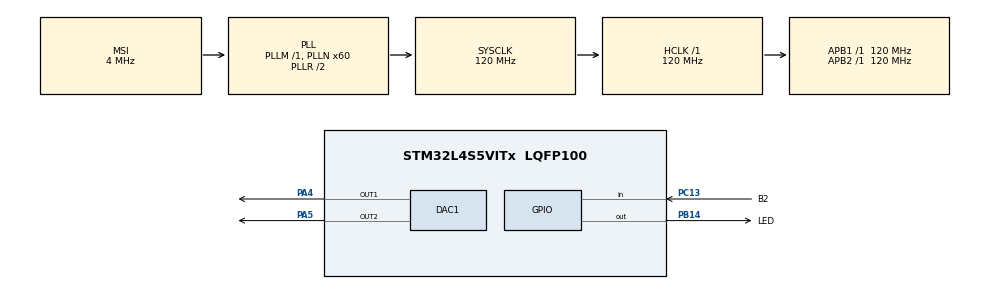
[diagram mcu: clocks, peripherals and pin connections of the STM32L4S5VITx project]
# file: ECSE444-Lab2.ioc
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ADC1.Channel-0\#ChannelRegularConversion=ADC_CHANNEL_VREFINT
ADC1.DiscontinuousConvMode=DISABLE
ADC1.EnableInjectedConversion=ENABLE
ADC1.InjMonitoredBy-2\#ChannelInjectedConversion=__NULL
ADC1.InjNumberOfConversion=1
ADC1.InjectedChannel-2\#ChannelInjectedConversion=ADC_CHANNEL_TEMPSENSOR
ADC1.InjectedOffsetNumber-2\#ChannelInjectedConversion=ADC_OFFSET_NONE
ADC1.InjectedRank-2\#ChannelInjectedConversion=1
ADC1.InjectedSamplingTime-2\#ChannelInjectedConversion=ADC_SAMPLETIME_247CYCLES_5
ADC1.NbrOfConversion=1
ADC1.NbrOfConversionFlag=1
ADC1.OffsetNumber-0\#ChannelRegularConversion=ADC_OFFSET_NONE
ADC1.Rank-0\#ChannelRegularConversion=1
ADC1.Rank1_Channel=ADC_CHANNEL_TEMPSENSOR
ADC1.SamplingTime-0\#ChannelRegularConversion=ADC_SAMPLETIME_247CYCLES_5
ADC1.master=1
DAC1.DAC_Channel-DAC_OUT2=DAC_CHANNEL_2
Mcu.Family=STM32L4
Mcu.Name=STM32L4S5VITx
Mcu.Package=LQFP100
NVIC.PriorityGroup=NVIC_PRIORITYGROUP_4
PA4.Signal=COMP_DAC11_group
PA5.Signal=COMP_DAC12_group
PB14.GPIO_Label=LED
PB14.Signal=GPIO_Output
PB3\ (JTDO/TRACESWO).Signal=SYS_JTDO-SWO
PC13.GPIO_Label=B2
PC13.Signal=GPIO_Input
ProjectManager.HeapSize=0x200
ProjectManager.StackSize=0x400
ProjectManager.TargetToolchain=STM32CubeIDE
RCC.ADCFreq_Value=48000000
RCC.AHBFreq_Value=120000000
RCC.APB1Freq_Value=120000000
RCC.APB1TimFreq_Value=120000000
RCC.APB2Freq_Value=120000000
RCC.APB2TimFreq_Value=120000000
RCC.CortexFreq_Value=120000000
RCC.HCLKFreq_Value=120000000
RCC.HSE_VALUE=8000000
RCC.HSI48_VALUE=48000000
RCC.HSI_VALUE=16000000
RCC.LSE_VALUE=32768
RCC.MSI_VALUE=4000000
RCC.PLLN=60
RCC.PLLSAI1N=24
RCC.SYSCLKFreq_VALUE=120000000
RCC.SYSCLKSource=RCC_SYSCLKSOURCE_PLLCLK
RCC.USBFreq_Value=48000000
RCC.VCOOutputFreq_Value=240000000
SH.COMP_DAC11_group.0=DAC1_OUT1,DAC_OUT1
SH.COMP_DAC12_group.0=DAC1_OUT2,DAC_OUT2
VP_ADC1_TempSens_Input.Mode=IN-TempSens
VP_ADC1_Vref_Input.Mode=IN-Vrefint
board=B-L4S5I-IOT01A

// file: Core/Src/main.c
/* USER CODE BEGIN Header */
/**
  ******************************************************************************
  * @file           : main.c
  * @brief          : Main program body
  ******************************************************************************
  * @attention
  *
  * Copyright (c) 2026 STMicroelectronics.
  * All rights reserved.
  *
  * This software is licensed under terms that can be found in the LICENSE file
  * in the root directory of this software component.
  * If no LICENSE file comes with this software, it is provided AS-IS.
  *
  ******************************************************************************
  */
/* USER CODE END Header */
#include "main.h"

/* USER CODE BEGIN Includes */
#define ARM_MATH_CM4
#include "arm_math.h"
#include "stdbool.h"
#include "math.h"
/* USER CODE END Includes */

/* USER CODE BEGIN PTD */

// Enum WaveType is three supported waveform shapes.
typedef enum {
	WAVE_TRIANGLE = 0,
	WAVE_SAW = 1,
	WAVE_SINE = 2
}WaveType;

// EnumMode between fixed and temperature outputs
typedef enum {
  MODE_WAVE = 0,  // LED off; output fixed waveform.
  MODE_TEMP = 1  // LED on; waveform depends on temperature sensor.
} Mode;

/* USER CODE END PTD */

/* USER CODE BEGIN PD */

// Define Statements for Flow Control
#define ON  1
#define OFF  0

// Choose ON/OFF
#define BUTTON_LIGHT 	OFF

// Choose single wave + delay is automatically included
#define WAVE_SAWTOOTH_DEF	OFF
#define WAVE_TRIANGLE_DEF	OFF
#define WAVE_SINE_DEF		OFF

#if WAVE_SAWTOOTH_DEF || WAVE_TRIANGLE_DEF || WAVE_SINE_DEF
	#define WAVE_DELAY   	ON
#else
	#define WAVE_DELAY		OFF
#endif

// Choose ON/OFF
#define ADC_SAMPLE   	OFF

// Choose ON/OFF
#define PART4			ON

// Define Constants for Temperature Sensor

#define TS_CAL1_TEMP 	30.0f
#define TS_CAL2_TEMP 	130.0f

// 32 bit address pointing to 16 bit memory spaces
#define TS_CAL1 		*(uint16_t*)(uint32_t)0x1FFF75A8
#define TS_CAL2 		*(uint16_t*)(uint32_t)0x1FFF75CA
#define VREFINT_CAL 	*(uint16_t*)(uint32_t)0x1FFF75AA

/* USER CODE END PD */

ADC_HandleTypeDef hadc1;

DAC_HandleTypeDef hdac1;

/* USER CODE BEGIN PV */

// Wave Generation Variables
uint8_t 	sawtooth = 0;
uint8_t 	triangle = 0;
uint8_t 	sine = 0;
float 		radians = 0.0;
float 		radians_increment = (5.625*3.14)/180;
bool 		triangle_up = true;
bool 		filler = true;
uint8_t 	amplitude = 0; // used when generating temperature-dependant waves

// Temperature Sensor Variables
float 	    vrefRatio = 1.0; 	 // (VREF+/VREFINT)
float 	    temperature = 25.0;  // store actual temperature value
uint16_t    tempAdc = 0; 	     // store ADC output corresponding to temperature value
uint16_t 	vrefAdc	= 0;	  	 // store ADC output corresponding to voltage reference
float		calibTempAdc = 0; 	 // V_TEMP * (VREF+/VREFINT)
static uint32_t last_adc_sample_ms = 0; //
// static uint32_t current_time_ms = 0; // in button debounce section

// Global application state.
static Mode mode = MODE_WAVE;
static WaveType fixedWave = WAVE_TRIANGLE;  // Currently selected fixed waveform.
static WaveType tempWave  = WAVE_SINE;      // Base waveform for temp controlled mode.

// Button debounce state.
static uint8_t 	button_prev_state = 0;
static uint8_t 	button_curr_state = 0;
static uint32_t last_button_toggle_ms = 0;
static uint32_t current_time_ms = 0; // also used for ADC

/* USER CODE END PV */

void SystemClock_Config(void);
static void MX_GPIO_Init(void);
static void MX_DAC1_Init(void);
static void MX_ADC1_Init(void);

/* USER CODE BEGIN PFP */

// User Function Prototypes
	// See User Code Area 4 for definitions
static void Sawtooth_Wave(uint8_t amplitude);
static void Triangle_Wave(void);
static void Sine_Wave(void);

/* USER CODE END PFP */

int main(void)
{

  /* USER CODE BEGIN 1 */

	// Constant used for calculating temperature from ADC reading
	uint16_t ts_cal1_val = TS_CAL1; // FOR DEBUGGING
	uint16_t ts_cal2_val = TS_CAL2; // FOR DEBUGGING
	uint16_t vrefint_val = VREFINT_CAL;	// FOR DEBUGGING
	float tempConst = (float)(TS_CAL2_TEMP - TS_CAL1_TEMP) / (float)(TS_CAL2 - TS_CAL1);

  /* USER CODE END 1 */

  /* MCU Configuration--------------------------------------------------------*/

  /* Reset of all peripherals, Initializes the Flash interface and the Systick. */
  HAL_Init();

  /* Configure the system clock */
  SystemClock_Config();

  /* Initialize all configured peripherals */
  MX_GPIO_Init();
  MX_DAC1_Init();
  MX_ADC1_Init();
  /* USER CODE BEGIN 2 */

  // Calibrate ADC
  HAL_ADCEx_Calibration_Start(&hadc1, ADC_SINGLE_ENDED);

  // Start DAC Channels 1-2
  HAL_DAC_Start(&hdac1, DAC_CHANNEL_1);
  HAL_DAC_Start(&hdac1, DAC_CHANNEL_2);

  /* USER CODE END 2 */

  /* Infinite loop */
  while (1)
  {

    /* USER CODE BEGIN 3 */

#if BUTTON_LIGHT == ON

	  //If button is pressed
	  if (!HAL_GPIO_ReadPin(B2_GPIO_Port, B2_Pin)) {
		  // Turn LED ON
		  HAL_GPIO_WritePin(LED_GPIO_Port, LED_Pin, GPIO_PIN_SET);
	  }
	  else {
		  // Turn LED off when button is not pressed
		  HAL_GPIO_WritePin(LED_GPIO_Port, LED_Pin, GPIO_PIN_RESET);
	  }

#endif

#if WAVE_SAWTOOTH_DEF == ON
	  // Sawtooth Wave Output to Speaker
	  HAL_DAC_SetValue(&hdac1, DAC_CHANNEL_2, DAC_ALIGN_8B_R, sawtooth);
	  if (sawtooth < 252) {
		  sawtooth += 4;
	  }
	  else {
		  sawtooth=0;
	  }
#endif

#if WAVE_TRIANGLE_DEF == ON
	  // Triangle Wave Output to Speaker
	  //DAC change value is double of sawtooth so that they have the same period
	  HAL_DAC_SetValue(&hdac1, DAC_CHANNEL_1, DAC_ALIGN_8B_R, triangle);
	  //Ascending section of triangle wave
	  if(triangle_up==true){
		  if (triangle < 248) {
			triangle += 8;
		  }
		  else {
			triangle_up=false;
		  }
	  }
	  //Descending section of triangle wave
	  else{
		  if (triangle > 0) {
			  triangle -= 8;
		  } else {
			  triangle_up=true;
		  }
	  }
#endif

#if WAVE_SINE_DEF == ON
	  //Sine Wave Output to Speaker
	  HAL_DAC_SetValue(&hdac1, DAC_CHANNEL_1, DAC_ALIGN_8B_R, sine);
	  if (radians < 6.27) {
	  		  radians += radians_increment;
	  	  } else {
	  		  radians=0;
	  	  }
	  sine = roundf(127.0 * (1.0 + arm_sin_f32(radians)));

#endif

#if WAVE_DELAY == ON
	  //Loop to delay time between increments (for all wave generation)
	  for(uint8_t i = 0; i<127; i++) // iterator max (255 -> uint8)
	  {
		  //Filler logic to stop compiler from deleting this loop
		  if(filler==true){
			  filler = false;
		  }
		  else{
			  filler = true;
		  }
	  }
	  //HAL_Delay(1); // keep commented

#endif

#if ADC_SAMPLE == ON

	// Poll Temperature Sensor (Injected)
	HAL_ADCEx_InjectedStart(&hadc1);
	HAL_ADCEx_InjectedPollForConversion(&hadc1, HAL_MAX_DELAY);
	tempAdc = HAL_ADCEx_InjectedGetValue(&hadc1, 1);
	HAL_ADCEx_InjectedStop(&hadc1);

	// Poll VREFINT (Non-Injected)
	HAL_ADC_Start(&hadc1);
	HAL_ADC_PollForConversion(&hadc1, HAL_MAX_DELAY);
	vrefAdc = HAL_ADC_GetValue(&hadc1);
	HAL_ADC_Stop(&hadc1);

	// Calculate (VREF+/VREFINT), or default to 1
	if (vrefAdc != 0) {
		vrefRatio = (float)VREFINT_CAL / (float)vrefAdc;
	}
	else {
		vrefRatio = 1;
	}

	// Calculate temperature with all scaling applied
	float calibAdc = (float)tempAdc * vrefRatio;
	temperature = tempConst * (calibAdc - (float)TS_CAL1) + TS_CAL1_TEMP;

	// Wait ~200ms
	HAL_Delay(200);

#endif

#if PART4 == ON

// Check if button is pressed with debouncing
	button_curr_state = !HAL_GPIO_ReadPin(B2_GPIO_Port, B2_Pin);

	// If button experiences state change
	if (button_curr_state && !button_prev_state) {

		current_time_ms = HAL_GetTick();

		// && Enough time has elapsed
		if ((current_time_ms - last_button_toggle_ms) > 200) {

			last_button_toggle_ms = current_time_ms;

			// Then change mode
			if (mode == MODE_WAVE) {

				mode = MODE_TEMP;
				HAL_GPIO_WritePin(LED_GPIO_Port, LED_Pin, GPIO_PIN_SET);
			} // if (mode == MODE_WAVE)
			else {

				mode = MODE_WAVE;
				HAL_GPIO_WritePin(LED_GPIO_Port, LED_Pin, GPIO_PIN_RESET);
				fixedWave = (fixedWave + 1) % 3; // keep range within 0-2 enum
			} // else(mode == MODE_TEMP)

		} // if ((current_time_ms - last_button_toggle_ms) > 200)

	} // if (button_current && !button_prev_state)

// Update button state
	button_prev_state = button_curr_state;

// Send value to DAC based on mode

	// Temperature Mode
	if (mode == MODE_TEMP) {

		// Sample temperature
		current_time_ms = HAL_GetTick();

		if ((current_time_ms - last_adc_sample_ms) > 200) {

			// Update time variables
			last_adc_sample_ms = current_time_ms;

			// Poll Temperature Sensor (Injected)
			HAL_ADCEx_InjectedStart(&hadc1);
			HAL_ADCEx_InjectedPollForConversion(&hadc1, HAL_MAX_DELAY);
			tempAdc = HAL_ADCEx_InjectedGetValue(&hadc1, 1);
			HAL_ADCEx_InjectedStop(&hadc1);

			// Poll VREFINT (Non-Injected)
			HAL_ADC_Start(&hadc1);
			HAL_ADC_PollForConversion(&hadc1, HAL_MAX_DELAY);
			vrefAdc = HAL_ADC_GetValue(&hadc1);
			HAL_ADC_Stop(&hadc1);

			// Calculate (VREF+/VREFINT), or default to 1
			if (vrefAdc != 0) {
				vrefRatio = (float)VREFINT_CAL / (float)vrefAdc;
			} // if (vrefAdc != 0)
			else {
				vrefRatio = 1;
			} // else

			// Calculate temperature with all scaling applied
			float calibAdc = (float)tempAdc * vrefRatio;
			temperature = tempConst * (calibAdc - (float)TS_CAL1) + TS_CAL1_TEMP;

			// Map temperature to wave amplitude (20 -40 C -> 0-255)
				// x = temperature (min(20), max(40))
				// y = amplitude (min(0), max(255))
				// y = [(x - xmin)/(xmax - xmin)] *  (ymax - ymin) + ymin

			amplitude = (uint8_t)((temperature - 20.0f) * 12.75f);

			if (amplitude > 255) {
				amplitude = 255;
			}
			else if (amplitude < 0) {
				amplitude = 0;
			}

		} // if ((current_time_ms - last_adc_sample_ms) > 200)

		// Send value to DAC (every loop iteration)
		Sawtooth_Wave(amplitude);

	} // if (mode == MODE_TEMP)

	// Wave Mode
	else if (mode == MODE_WAVE) {

		switch(fixedWave) {
		case WAVE_SAW:
			Sawtooth_Wave(255); // use full amplitude
			break;
		case WAVE_TRIANGLE:
			Triangle_Wave();
			break;
		case WAVE_SINE:
			Sine_Wave();
			break;

		} // switch(fixedWave)

	} // else if (mode == MODE_WAVE)

// Timing Delay between DAC Updates

	for(uint8_t i = 0; i<127; i++) // iterator max (255 -> uint8)
		{
		//Filler logic to stop compiler from deleting this loop
		if(filler==true){
			filler = false;
		} // if
		else{
			filler = true;
		} // else
	  } // for

#endif // PART 4

  } // while(1)

  /* USER CODE END 3 */
}

void SystemClock_Config(void)
{
  RCC_OscInitTypeDef RCC_OscInitStruct = {0};
  RCC_ClkInitTypeDef RCC_ClkInitStruct = {0};

  /** Configure the main internal regulator output voltage
  */
  if (HAL_PWREx_ControlVoltageScaling(PWR_REGULATOR_VOLTAGE_SCALE1_BOOST) != HAL_OK)
  {
    Error_Handler();
  }

  /** Initializes the RCC Oscillators according to the specified parameters
  * in the RCC_OscInitTypeDef structure.
  */
  RCC_OscInitStruct.OscillatorType = RCC_OSCILLATORTYPE_MSI;
  RCC_OscInitStruct.MSIState = RCC_MSI_ON;
  RCC_OscInitStruct.MSICalibrationValue = 0;
  RCC_OscInitStruct.MSIClockRange = RCC_MSIRANGE_6;
  RCC_OscInitStruct.PLL.PLLState = RCC_PLL_ON;
  RCC_OscInitStruct.PLL.PLLSource = RCC_PLLSOURCE_MSI;
  RCC_OscInitStruct.PLL.PLLM = 1;
  RCC_OscInitStruct.PLL.PLLN = 60;
  RCC_OscInitStruct.PLL.PLLP = RCC_PLLP_DIV2;
  RCC_OscInitStruct.PLL.PLLQ = RCC_PLLQ_DIV2;
  RCC_OscInitStruct.PLL.PLLR = RCC_PLLR_DIV2;
  if (HAL_RCC_OscConfig(&RCC_OscInitStruct) != HAL_OK)
  {
    Error_Handler();
  }

  /** Initializes the CPU, AHB and APB buses clocks
  */
  RCC_ClkInitStruct.ClockType = RCC_CLOCKTYPE_HCLK|RCC_CLOCKTYPE_SYSCLK
                              |RCC_CLOCKTYPE_PCLK1|RCC_CLOCKTYPE_PCLK2;
  RCC_ClkInitStruct.SYSCLKSource = RCC_SYSCLKSOURCE_PLLCLK;
  RCC_ClkInitStruct.AHBCLKDivider = RCC_SYSCLK_DIV1;
  RCC_ClkInitStruct.APB1CLKDivider = RCC_HCLK_DIV1;
  RCC_ClkInitStruct.APB2CLKDivider = RCC_HCLK_DIV1;

  if (HAL_RCC_ClockConfig(&RCC_ClkInitStruct, FLASH_LATENCY_5) != HAL_OK)
  {
    Error_Handler();
  }
}

static void MX_ADC1_Init(void)
{

  ADC_ChannelConfTypeDef sConfig = {0};
  ADC_InjectionConfTypeDef sConfigInjected = {0};

  /** Common config
  */
  hadc1.Instance = ADC1;
  hadc1.Init.ClockPrescaler = ADC_CLOCK_ASYNC_DIV1;
  hadc1.Init.Resolution = ADC_RESOLUTION_12B;
  hadc1.Init.DataAlign = ADC_DATAALIGN_RIGHT;
  hadc1.Init.ScanConvMode = ADC_SCAN_DISABLE;
  hadc1.Init.EOCSelection = ADC_EOC_SINGLE_CONV;
  hadc1.Init.LowPowerAutoWait = DISABLE;
  hadc1.Init.ContinuousConvMode = DISABLE;
  hadc1.Init.NbrOfConversion = 1;
  hadc1.Init.DiscontinuousConvMode = DISABLE;
  hadc1.Init.ExternalTrigConv = ADC_SOFTWARE_START;
  hadc1.Init.ExternalTrigConvEdge = ADC_EXTERNALTRIGCONVEDGE_NONE;
  hadc1.Init.DMAContinuousRequests = DISABLE;
  hadc1.Init.Overrun = ADC_OVR_DATA_PRESERVED;
  hadc1.Init.OversamplingMode = DISABLE;
  if (HAL_ADC_Init(&hadc1) != HAL_OK)
  {
    Error_Handler();
  }

  /** Disable Injected Queue
  */
  HAL_ADCEx_DisableInjectedQueue(&hadc1);

  /** Configure Regular Channel
  */
  sConfig.Channel = ADC_CHANNEL_VREFINT;
  sConfig.Rank = ADC_REGULAR_RANK_1;
  sConfig.SamplingTime = ADC_SAMPLETIME_247CYCLES_5;
  sConfig.SingleDiff = ADC_SINGLE_ENDED;
  sConfig.OffsetNumber = ADC_OFFSET_NONE;
  sConfig.Offset = 0;
  if (HAL_ADC_ConfigChannel(&hadc1, &sConfig) != HAL_OK)
  {
    Error_Handler();
  }

  /** Configure Injected Channel
  */
  sConfigInjected.InjectedChannel = ADC_CHANNEL_TEMPSENSOR;
  sConfigInjected.InjectedRank = ADC_INJECTED_RANK_1;
  sConfigInjected.InjectedSamplingTime = ADC_SAMPLETIME_247CYCLES_5;
  sConfigInjected.InjectedSingleDiff = ADC_SINGLE_ENDED;
  sConfigInjected.InjectedOffsetNumber = ADC_OFFSET_NONE;
  sConfigInjected.InjectedOffset = 0;
  sConfigInjected.InjectedNbrOfConversion = 1;
  sConfigInjected.InjectedDiscontinuousConvMode = DISABLE;
  sConfigInjected.AutoInjectedConv = DISABLE;
  sConfigInjected.QueueInjectedContext = DISABLE;
  sConfigInjected.ExternalTrigInjecConv = ADC_INJECTED_SOFTWARE_START;
  sConfigInjected.ExternalTrigInjecConvEdge = ADC_EXTERNALTRIGINJECCONV_EDGE_NONE;
  sConfigInjected.InjecOversamplingMode = DISABLE;
  if (HAL_ADCEx_InjectedConfigChannel(&hadc1, &sConfigInjected) != HAL_OK)
  {
    Error_Handler();
  }

}

static void MX_DAC1_Init(void)
{

  DAC_ChannelConfTypeDef sConfig = {0};

  /** DAC Initialization
  */
  hdac1.Instance = DAC1;
  if (HAL_DAC_Init(&hdac1) != HAL_OK)
  {
    Error_Handler();
  }

  /** DAC channel OUT1 config
  */
  sConfig.DAC_SampleAndHold = DAC_SAMPLEANDHOLD_DISABLE;
  sConfig.DAC_Trigger = DAC_TRIGGER_NONE;
  sConfig.DAC_HighFrequency = DAC_HIGH_FREQUENCY_INTERFACE_MODE_ABOVE_80MHZ;
  sConfig.DAC_OutputBuffer = DAC_OUTPUTBUFFER_ENABLE;
  sConfig.DAC_ConnectOnChipPeripheral = DAC_CHIPCONNECT_DISABLE;
  sConfig.DAC_UserTrimming = DAC_TRIMMING_FACTORY;
  if (HAL_DAC_ConfigChannel(&hdac1, &sConfig, DAC_CHANNEL_1) != HAL_OK)
  {
    Error_Handler();
  }

  /** DAC channel OUT2 config
  */
  if (HAL_DAC_ConfigChannel(&hdac1, &sConfig, DAC_CHANNEL_2) != HAL_OK)
  {
    Error_Handler();
  }

}

static void MX_GPIO_Init(void)
{
  GPIO_InitTypeDef GPIO_InitStruct = {0};

  /* GPIO Ports Clock Enable */
  __HAL_RCC_GPIOC_CLK_ENABLE();
  __HAL_RCC_GPIOA_CLK_ENABLE();
  __HAL_RCC_GPIOB_CLK_ENABLE();

  /*Configure GPIO pin Output Level */
  HAL_GPIO_WritePin(LED_GPIO_Port, LED_Pin, GPIO_PIN_RESET);

  /*Configure GPIO pin : B2_Pin */
  GPIO_InitStruct.Pin = B2_Pin;
  GPIO_InitStruct.Mode = GPIO_MODE_INPUT;
  GPIO_InitStruct.Pull = GPIO_NOPULL;
  HAL_GPIO_Init(B2_GPIO_Port, &GPIO_InitStruct);

  /*Configure GPIO pin : LED_Pin */
  GPIO_InitStruct.Pin = LED_Pin;
  GPIO_InitStruct.Mode = GPIO_MODE_OUTPUT_PP;
  GPIO_InitStruct.Pull = GPIO_NOPULL;
  GPIO_InitStruct.Speed = GPIO_SPEED_FREQ_LOW;
  HAL_GPIO_Init(LED_GPIO_Port, &GPIO_InitStruct);

}

/* USER CODE BEGIN 4 */

// User Defined Functions

static void Sawtooth_Wave(uint8_t amplitude) {

	// make sure ramp doesn't go above on first call
	if (amplitude == 255) {
		amplitude = 252;
	}

	  // Sawtooth Wave Output to Speaker
	  HAL_DAC_SetValue(&hdac1, DAC_CHANNEL_2, DAC_ALIGN_8B_R, sawtooth);
	  if (sawtooth < amplitude) {
		  sawtooth += 4;
	  }
	  else {
		  sawtooth=0;
	  }

}

static void Triangle_Wave(void) {

  // Triangle Wave Output to Speaker
  //DAC change value is double of sawtooth so that they have the same period
  HAL_DAC_SetValue(&hdac1, DAC_CHANNEL_1, DAC_ALIGN_8B_R, triangle);
  //Ascending section of triangle wave
  if(triangle_up==true){
	  if (triangle < 248) {
		triangle += 8;
	  }
	  else {
		triangle_up=false;
	  }
  }
  //Descending section of triangle wave
  else{
	  if (triangle > 0) {
		  triangle -= 8;
	  } else {
		  triangle_up=true;
	  }
  }

	// put code here to publish 1 DAC value for a triangle wave

}

static void Sine_Wave(void) {

  //Sine Wave Output to Speaker
  HAL_DAC_SetValue(&hdac1, DAC_CHANNEL_1, DAC_ALIGN_8B_R, sine);
  if (radians < 6.27) {
		  radians += radians_increment;
	  } else {
		  radians=0;
	  }
  sine = roundf(127.0 * (1.0 + arm_sin_f32(radians)));

}

/* USER CODE END 4 */

void Error_Handler(void)
{
  __disable_irq();
  while (1)
  {
  }
}
